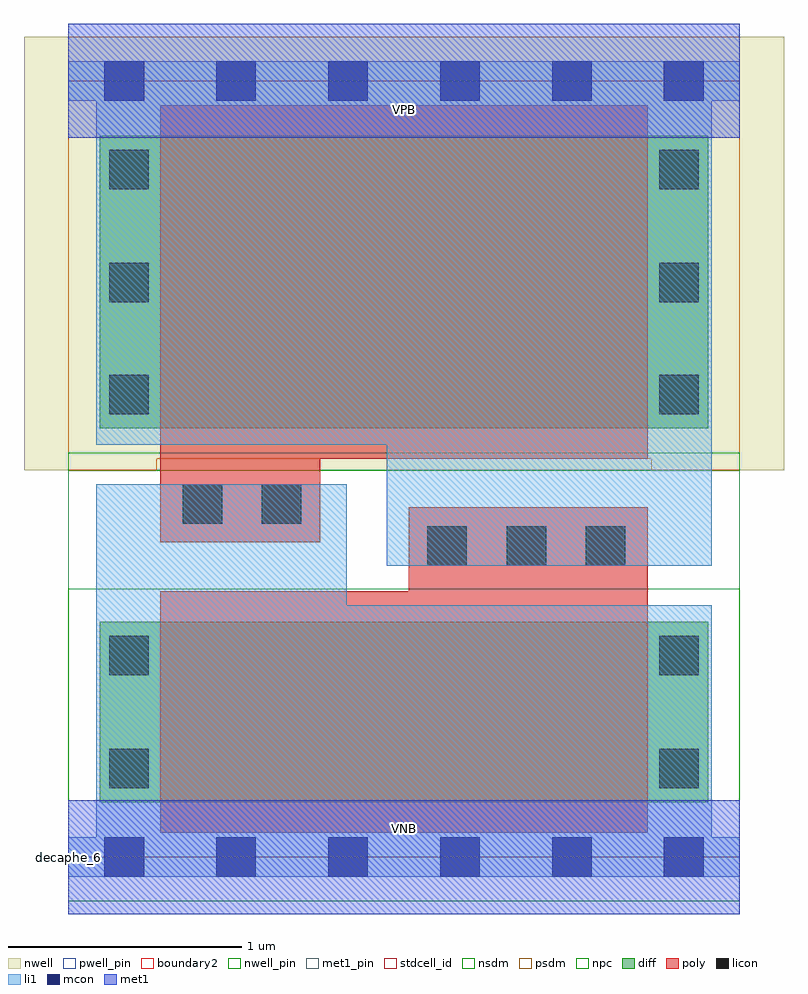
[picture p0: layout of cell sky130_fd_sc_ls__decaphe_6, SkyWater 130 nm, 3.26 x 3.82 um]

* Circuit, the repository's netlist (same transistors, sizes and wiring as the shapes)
* Copyright 2020 The SkyWater PDK Authors
*
* Licensed under the Apache License, Version 2.0 (the "License");
* you may not use this file except in compliance with the License.
* You may obtain a copy of the License at
*
*     https://www.apache.org/licenses/LICENSE-2.0
*
* Unless required by applicable law or agreed to in writing, software
* distributed under the License is distributed on an "AS IS" BASIS,
* WITHOUT WARRANTIES OR CONDITIONS OF ANY KIND, either express or implied.
* See the License for the specific language governing permissions and
* limitations under the License.
*
* SPDX-License-Identifier: Apache-2.0

.SUBCKT sky130_fd_sc_ls__decaphe_6 VGND VNB VPB VPWR
*.PININFO VGND:I VNB:I VPB:I VPWR:I
MI1 VGND VPWR VGND VNB sky130_fd_pr__nfet_01v8 m=1 w=0.775U l=2.09U mult=1 sa=0.265
+ sb=0.265 sd=0.28 area=0.063 perim=1.14
MI4 VPWR VGND VPWR VPB sky130_fd_pr__pfet_01v8 m=1 w=1.255U l=2.09U mult=1 sa=0.265
+ sb=0.265 sd=0.28 area=0.063 perim=1.14
.ENDS sky130_fd_sc_ls__decaphe_6

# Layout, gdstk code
import gdstk
lib = gdstk.Library(unit=1e-6, precision=1e-09)
def R(c, l, rs):  # rectangles x0, y0, x1, y1
    for r in rs: c.add(gdstk.rectangle(r[:2], r[2:], *l))
def A(c, l, x, y, w, h, nx, ny, dx, dy):  # array of equal rectangles
    R(c, l, [(x+i*dx, y+j*dy, x+i*dx+w, y+j*dy+h) for i in range(nx) for j in range(ny)])
def P(c, l, *ps):  # polygons
    for p in ps: c.add(gdstk.Polygon(p, *l))
nwell_pin = (64, 16)
nwell = (64, 20)
diff = (65, 20)
poly = (66, 20)
licon = (66, 44)
li1 = (67, 20)
mcon = (67, 44)
met1_pin = (68, 16)
met1 = (68, 20)
stdcell_id = (81, 4)
nsdm = (93, 44)
psdm = (94, 20)
npc = (95, 20)
pwell_pin = (122, 16)
boundary2 = (236, 0)

sky130_fd_sc_ls__decaphe = lib.new_cell('sky130_fd_sc_ls__decaphe_6')
R(sky130_fd_sc_ls__decaphe, nwell_pin, [(0,3.085,2.88,3.33)])
R(sky130_fd_sc_ls__decaphe, nwell, [(-0.19,1.66,3.07,3.52)])
R(sky130_fd_sc_ls__decaphe, diff, [(0.135,0.235,2.745,1.01), (0.135,1.84,2.745,3.095)])
P(sky130_fd_sc_ls__decaphe, poly, [(2.485,1.5),(1.46,1.5),(1.46,1.14),(0.395,1.14),(0.395,0.105),(2.485,0.105)],
  [(2.485,3.225),(0.395,3.225),(0.395,1.35),(1.08,1.35),(1.08,1.71),(2.485,1.71)])
A(sky130_fd_sc_ls__decaphe, licon, 1.54, 1.25, 0.17, 0.17, 3, 1, 0.34, 0)
R(sky130_fd_sc_ls__decaphe, licon, [(0.175,0.295,0.345,0.465), (2.535,0.295,2.705,0.465), (0.175,0.78,0.345,0.95), (2.535,0.78,2.705,0.95), (0.49,1.43,0.66,1.6), (0.83,1.43,1,1.6), (0.175,1.9,0.345,2.07), (2.535,1.9,2.705,2.07), (0.175,2.38,0.345,2.55), (2.535,2.38,2.705,2.55), (0.175,2.865,0.345,3.035), (2.535,2.865,2.705,3.035)])
P(sky130_fd_sc_ls__decaphe, li1, [(2.88,0.085),(2.76,0.085),(2.76,1.08),(1.195,1.08),(1.195,1.6),(0.12,1.6),(0.12,0.085),(0,0.085),(0,-0.085),(2.88,-0.085)],
  [(2.88,3.415),(0,3.415),(0,3.245),(0.12,3.245),(0.12,1.77),(1.365,1.77),(1.365,1.25),(2.76,1.25),(2.76,3.245),(2.88,3.245)])
A(sky130_fd_sc_ls__decaphe, mcon, 0.155, -0.085, 0.17, 0.17, 6, 2, 0.48, 3.33)
R(sky130_fd_sc_ls__decaphe, met1_pin, [(0,0,2.88,0.245), (0,3.085,2.88,3.33)])
R(sky130_fd_sc_ls__decaphe, met1, [(0,-0.245,2.88,0.245), (0,3.085,2.88,3.575)])
R(sky130_fd_sc_ls__decaphe, stdcell_id, [(0,0,2.88,3.33)])
R(sky130_fd_sc_ls__decaphe, nsdm, [(0,-0.19,2.88,1.66)])
P(sky130_fd_sc_ls__decaphe, psdm, [(2.88,3.52),(0,3.52),(0,1.66),(0.38,1.66),(0.38,1.71),(2.5,1.71),(2.5,1.66),(2.88,1.66)])
R(sky130_fd_sc_ls__decaphe, npc, [(0,1.15,2.88,1.735)])
R(sky130_fd_sc_ls__decaphe, pwell_pin, [(0,0,2.88,0.245)])
R(sky130_fd_sc_ls__decaphe, boundary2, [(0,0,2.88,3.33)])
sky130_fd_sc_ls__decaphe.add(gdstk.Label('VNB', (1.44,0.123), layer=64, texttype=59))
sky130_fd_sc_ls__decaphe.add(gdstk.Label('VPB', (1.44,3.208), layer=64, texttype=5))
sky130_fd_sc_ls__decaphe.add(gdstk.Label('decaphe_6', (0,0), layer=83, texttype=44))
sky130_fd_sc_ls__decaphe.add(gdstk.Label('VPWR', (1.44,3.208), layer=68, texttype=5))
sky130_fd_sc_ls__decaphe.add(gdstk.Label('VGND', (1.44,0.123), layer=68, texttype=5))

lib.write_gds('sky130_fd_sc_ls__decaphe_6.gds')
